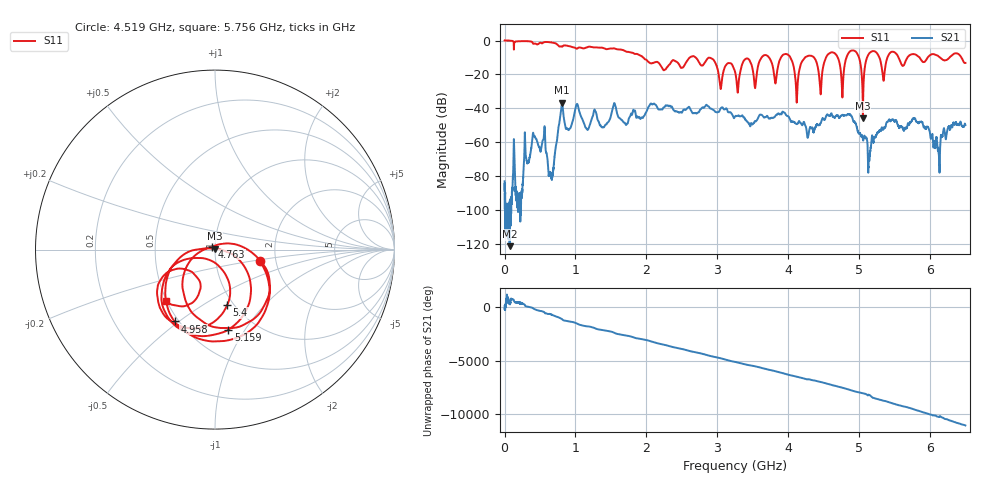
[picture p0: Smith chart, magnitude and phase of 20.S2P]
!Keysight Technologies,E5063A,MY54503115,A.05.08
!Date: Wed Dec 06 19:18:45 2023
!Data & Calibration Information:
!Freq	S11:NONE(--)	S21:NONE(--)	S12:NONE(--)	S22:NONE(--)
# Hz S dB R 50
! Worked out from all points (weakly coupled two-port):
!   10001 points, 100 kHz to 6.5 GHz, reference 50 ohm
!   highest |S21| = -36.65 dB at 810.6 MHz (marker M1); lowest = -121.3 dB at 70.95 MHz (marker M2)
!   lowest |S11| = -45.7 dB at 5.054 GHz (marker M3), VSWR 1.01, Z = 50 + j0.513 ohm
!   |S11| at or under -10 dB: 1.956 GHz to 2.613 GHz (656.9 MHz wide, 28.8 % of centre); 2.696 GHz to 3.624 GHz (928.3 MHz wide, 29.4 % of centre); 4.031 GHz to 4.238 GHz (207.3 MHz wide, 5.01 % of centre) (the widest 3 of 12)
!   S12 and S22 are empty: the file has one direction only
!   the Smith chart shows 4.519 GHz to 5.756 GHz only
!   S11 on the Smith chart (normalised r, x): 4.519 GHz: 1.66, -0.23; 4.763 GHz: 0.97, +0.03; 4.958 GHz: 0.47, -0.48; 5.159 GHz: 0.75, -0.85; 5.4 GHz: 0.93, -0.64; 5.756 GHz: 0.50, -0.33
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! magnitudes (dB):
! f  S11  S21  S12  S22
! 100 kHz  0.0  -83.0  -  -
! 70.95 MHz  0.0  -121.3  -  -
! 421.3 MHz  -1.9  -56.5  -  -
! 654.6 MHz  -1.1  -79.9  -  -
! 810.6 MHz  -3.7  -36.7  -  -
! 1.084 GHz  -4.3  -45.4  -  -
! 2.167 GHz  -12.9  -40.5  -  -
! 3.25 GHz  -18.3  -44.7  -  -
! 3.972 GHz  -7.9  -43.9  -  -
! 4.122 GHz  -35.9  -49.3  -  -
! 4.334 GHz  -9.1  -51.7  -  -
! 4.453 GHz  -29.4  -49.0  -  -
! 4.519 GHz  -11.6  -46.7  -  -
! 4.763 GHz  -33.0  -44.0  -  -
! 4.958 GHz  -6.8  -49.6  -  -
! 5.054 GHz  -45.7  -58.0  -  -
! 5.159 GHz  -6.9  -65.1  -  -
! 5.4 GHz  -10.0  -48.0  -  -
! 5.417 GHz  -8.5  -46.8  -  -
! 5.756 GHz  -8.1  -46.0  -  -
! 6.116 GHz  -9.1  -63.6  -  -
! 6.5 GHz  -13.2  -49.8  -  -
